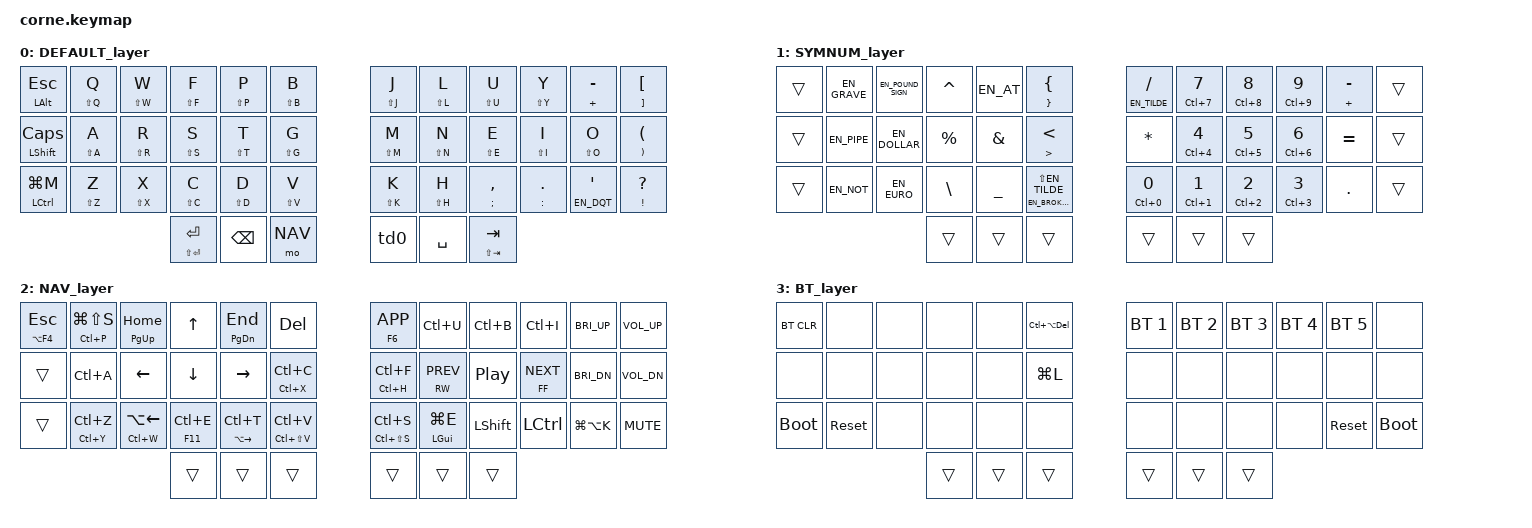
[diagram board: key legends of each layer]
/*
 * Copyright (c) 2020 The ZMK Contributors
 *
 * SPDX-License-Identifier: MIT
 */
#include <behaviors.dtsi>
#include <dt-bindings/zmk/keys.h>
#include <dt-bindings/zmk/bt.h>
#include <dt-bindings/zmk/outputs.h>
#include "keys_en_gb_extended.h"
#include "keys_uk_enhanced (2).h"
#define DEFAULT 0
#define SYMNUM  1
#define NAV     2
#define BT      3
&mt {
    flavor = "tap-preferred";
    tapping_term_ms = <300>;
};
/ {
        behaviours {
//                lsdot: leftshift_dot {
//                    compatible = "zmk,behavior-mod-morph";
//                    label = "LS_DOT";
//                    #binding-cells = <0>;
//                    bindings = <&kp DOT>, <&kp DOT>;
//                    mods = <(MOD_LSFT)>;
//                };
//                gqt: global-quick-tap {
//                    compatible = "zmk,behavior-hold-tap";
//                    label = "GLOBAL_QUICK_TAP";
//                    #binding-cells = <2>;
//                    flavor = "tap-preferred";
//                    tapping-term-ms = <200>;
//                    quick-tap-ms = <125>;
//                    global-quick-tap;
//                    bindings = <&kp>, <&kp>;
//                };
                td0: tap_dance_0 {
                    compatible = "zmk,behavior-tap-dance";
                    label = "TAP_DANCE_0";
                    #binding-cells = <0>;
                    tapping-term-ms = <250>;
                    bindings = <&mo SYMNUM>, <&tog SYMNUM>;
                };
                as: auto_shift {
                    compatible = "zmk,behavior-hold-tap";
                    label = "AUTO_SHIFT";
                    #binding-cells = <2>;
                    tapping_term_ms = <300>;
//                    quick_tap_ms = <0>;       //added line
//                    global-quick-tap;           //added line
                    flavor = "tap-preferred";
                    bindings = <&kp>, <&kp>;
                };
            };
        conditional_layers {
                compatible = "zmk,conditional-layers";
                BT {
                if-layers = <1 2>;
                then-layer = <3>;
                };
            };
        keymap {
                compatible = "zmk,keymap";
                DEFAULT_layer {
// -----------------------------------------------------------------------------------------
// |ALT  |  Q  |  W  |  F  |  P  |  B  |   |  J  |  L  |  U  |  Y  | - + | [ ] |
// |SHFT |  A  |  R  |  S  |  T  |  G  |   |  M  |  N  |  E  |  I  |  O  | ( ) |
// |CTRL |  Z  |  X  |  C  |  D  |  V  |   |  K  |  H  | , ; | . : | ' " | ? ! |
//                   | RET |BSPC | NAV |   |SYMNU| SPC | TAB | 
                        bindings = <
   &mt LALT ESC     &as LS(Q) Q    &as LS(W) W   &as LS(F) F          &as LS(P) P         &as LS(B) B            &as LS(J) J    &as LS(L) L      &as LS(U) U        &as LS(Y) Y        &mt PLUS MINUS    &mt RBKT LBKT
   &mt LSHFT CAPS   &as LS(A) A    &as LS(R) R   &as LS(S) S          &as LS(T) T         &as LS(G) G            &as LS(M) M    &as LS(N) N      &as LS(E) E        &as LS(I) I        &as LS(O) O       &mt RPAR LPAR
   &mt LCTRL LG(M)  &as LS(Z) Z    &as LS(X) X   &as LS(C) C          &as LS(D) D         &as LS(V) V            &as LS(K) K    &as LS(H) H      &mt SEMI COMMA     &mt COLON DOT      &mt EN_DQT SQT    &mt EXCL QMARK
                                                 &mt LS(RET) RET      &kp BSPC            &mo NAV                &td0           &kp SPC          &mt LS(TAB) TAB
                        >;
                };
                SYMNUM_layer {
// -----------------------------------------------------------------------------------------
// |     |  `  |  £  |  ^  |  @  | { } |   | / \ |  7  |  8  |  9  | - + |     |
// |     |  ~  |  $  |  %  |  &  | < > |   |  *  |  4  |  5  |  6  |  =  |     |
// |     |  ¬  |  €  |  #  |  _  | | ¦ |   |  0  |  1  |  2  |  3  |  .  |     |
//                   |     |     |     |   |     |     |     |
                        bindings = <
   &trans    &kp EN_GRAVE  &kp EN_POUND_SIGN   &kp CARET     &kp EN_AT   &mt RBRC LBRC                       &mt EN_TILDE SLASH    &mt LC(N7) N7   &mt LC(N8) N8   &mt LC(N9) N9    &mt PLUS MINUS   &trans
   &trans    &kp EN_PIPE   &kp EN_DOLLAR       &kp PRCNT     &kp AMPS    &mt GT LT                           &kp STAR              &mt LC(N4) N4   &mt LC(N5) N5   &mt LC(N6) N6    &kp EQUAL        &trans
   &trans    &kp EN_NOT    &kp EN_EURO         &kp BSLH      &kp UNDER   &mt EN_BROKEN_BAR LS(EN_TILDE)      &mt LC(N0) N0         &mt LC(N1) N1   &mt LC(N2) N2   &mt LC(N3) N3    &kp DOT          &trans
                                               &trans        &trans      &trans                              &trans                &trans          &trans
                        >;
                };
                NAV_layer {
// -----------------------------------------------------------------------------------------
// |CLOSE|PRINT|HOME |UP   |END   |DEL  |   |K_APP|LC+U |LC+B |LC+I | BR+  | VOL+ |
// | F6  |ALL  |LEFT |DOWN |RIGHT |COPY |   |Find |RWND |PLAY |FFWD | BR-  | VOL- |
// | F11 |UNDO |<BACK|WIN  |NEWTAB|PASTE|   |Save |WIN  |LSHFT|LCTRL|MICmut|VOLmut|
//                   |     |      |     |   |     |     |     |
                        bindings = <
   &mt LA(F4) ESC   &mt LC(P) LG(LS(S))   &mt PG_UP HOME     &kp UP           &mt PG_DN END          &kp DEL                     &mt F6 K_APP          &kp LC(U)        &kp LC(B)  &kp LC(I)        &kp C_BRI_UP   &kp C_VOL_UP
   &trans           &kp LC(A)             &kp LEFT           &kp DOWN         &kp RIGHT              &mt LC(X) LC(C)             &mt LC(H) LC(F)       &mt C_RW C_PREV  &kp C_PP   &mt C_FF C_NEXT  &kp C_BRI_DN   &kp C_VOL_DN
   &trans           &mt LC(Y) LC(Z)       &mt LC(W) LA(LEFT) &mt F11 LC(E)    &mt LA(RIGHT) LC(T)    &mt LC(LS(V)) LC(V)         &mt LC(LS(S)) LC(S)   &mt LGUI LG(E)   &kp LSHFT  &kp LCTRL        &kp LG(LA(K))  &kp C_MUTE
                    	                                     &trans           &trans                 &trans                      &trans                &trans           &trans
                        >;
                };
                BT_layer {
// -----------------------------------------------------------------------------------------
// |BTCLR|     |     |     |     |C+A+Del|   | BT1 | BT2 | BT3 | BT4 | BT5 |     |
// |     |     |     |     |     | LOCK  |   |     |     |     |     |     |     |
// |BOOTL|RESET|     |     |     |       |   |     |     |     |     |RESET|BOOTL|
//                   |     |     |       |   |     |     |     |
                        bindings = <
   &bt BT_CLR    &none        &none    &none    &none    &kp LC(LA(DEL))        &bt BT_SEL 1  &bt BT_SEL 2  &bt BT_SEL 3  &bt BT_SEL 4  &bt BT_SEL 5      &none 
   &none         &none        &none    &none    &none    &kp LG(L)              &none         &none         &none         &none         &none             &none
   &bootloader   &sys_reset   &none    &none    &none    &none                  &none         &none         &none         &none         &sys_reset        &bootloader
                                       &trans   &trans   &trans                 &trans        &trans        &trans
                         >;
                };
        };
};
